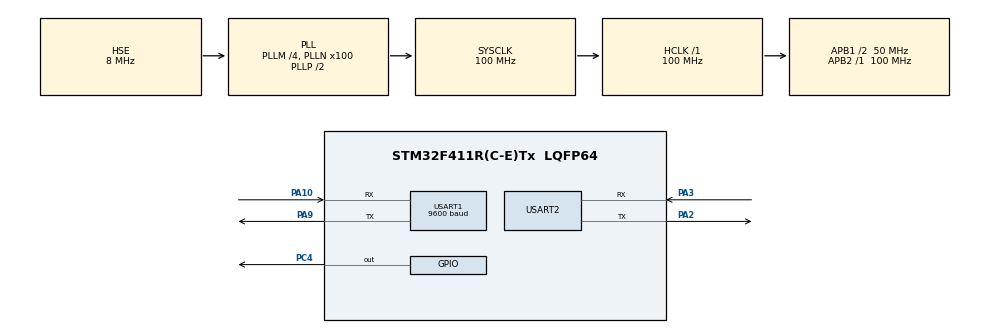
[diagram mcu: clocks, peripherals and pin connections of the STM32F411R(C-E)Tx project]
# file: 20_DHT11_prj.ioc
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Dma.Request0=USART2_RX
Dma.USART2_RX.0.Direction=DMA_PERIPH_TO_MEMORY
Dma.USART2_RX.0.FIFOMode=DMA_FIFOMODE_DISABLE
Dma.USART2_RX.0.Instance=DMA1_Stream5
Dma.USART2_RX.0.MemDataAlignment=DMA_MDATAALIGN_BYTE
Dma.USART2_RX.0.MemInc=DMA_MINC_ENABLE
Dma.USART2_RX.0.Mode=DMA_NORMAL
Dma.USART2_RX.0.PeriphDataAlignment=DMA_PDATAALIGN_BYTE
Dma.USART2_RX.0.PeriphInc=DMA_PINC_DISABLE
Dma.USART2_RX.0.Priority=DMA_PRIORITY_LOW
Mcu.Family=STM32F4
Mcu.Name=STM32F411R(C-E)Tx
Mcu.Package=LQFP64
NVIC.DMA1_Stream5_IRQn=true\:0\:0\:false\:false\:true\:false\:true\:true
NVIC.PriorityGroup=NVIC_PRIORITYGROUP_4
NVIC.TIM1_TRG_COM_TIM11_IRQn=true\:0\:0\:false\:false\:true\:true\:true\:true
NVIC.USART1_IRQn=true\:0\:0\:false\:false\:true\:true\:true\:true
PA10.Mode=Asynchronous
PA10.Signal=USART1_RX
PA13.Mode=Serial_Wire
PA13.Signal=SYS_JTMS-SWDIO
PA14.Mode=Serial_Wire
PA14.Signal=SYS_JTCK-SWCLK
PA2.Mode=Asynchronous
PA2.Signal=USART2_TX
PA3.Mode=Asynchronous
PA3.Signal=USART2_RX
PA9.Mode=Asynchronous
PA9.Signal=USART1_TX
PC4.GPIO_Speed=GPIO_SPEED_FREQ_HIGH
PC4.PinState=GPIO_PIN_RESET
PC4.Signal=GPIO_Output
PH0\ -\ OSC_IN.Mode=HSE-External-Oscillator
PH0\ -\ OSC_IN.Signal=RCC_OSC_IN
PH1\ -\ OSC_OUT.Mode=HSE-External-Oscillator
PH1\ -\ OSC_OUT.Signal=RCC_OSC_OUT
ProjectManager.HeapSize=0x200
ProjectManager.StackSize=0x400
ProjectManager.TargetToolchain=STM32CubeIDE
RCC.48MHZClocksFreq_Value=50000000
RCC.AHBFreq_Value=100000000
RCC.APB1CLKDivider=RCC_HCLK_DIV2
RCC.APB1Freq_Value=50000000
RCC.APB1TimFreq_Value=100000000
RCC.APB2Freq_Value=100000000
RCC.APB2TimFreq_Value=100000000
RCC.CortexFreq_Value=100000000
RCC.HCLKFreq_Value=100000000
RCC.HSE_VALUE=8000000
RCC.HSI_VALUE=16000000
RCC.LSE_VALUE=32768
RCC.PLLM=4
RCC.PLLN=100
RCC.PLLSourceVirtual=RCC_PLLSOURCE_HSE
RCC.SYSCLKFreq_VALUE=100000000
RCC.SYSCLKSource=RCC_SYSCLKSOURCE_PLLCLK
RCC.VCOOutputFreq_Value=200000000
TIM11.Prescaler=100-1
USART1.BaudRate=9600
USART1.VirtualMode=VM_ASYNC
USART2.VirtualMode=VM_ASYNC
VP_TIM11_VS_ClockSourceINT.Mode=Enable_Timer
board=custom

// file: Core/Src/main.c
/* USER CODE BEGIN Header */
/**
  ******************************************************************************
  * @file           : main.c
  * @brief          : Main program body
  ******************************************************************************
  * @attention
  *
  * Copyright (c) 2025 STMicroelectronics.
  * All rights reserved.
  *
  ******************************************************************************
  */
/* USER CODE END Header */
#include "main.h"
#include "dma.h"
#include "tim.h"
#include "usart.h"
#include "gpio.h"

/* USER CODE BEGIN Includes */
#include "dht.h"
/* USER CODE END Includes */

/* USER CODE BEGIN PTD */
#ifdef __GNUC__
  /* With GCC, small printf (option LD Linker->Libraries->Small printf
     set to 'Yes') calls __io_putchar() */
  #define PUTCHAR_PROTOTYPE int __io_putchar(int ch)
#else
  #define PUTCHAR_PROTOTYPE int fputc(int ch, FILE *f)
#endif /* __GNUC__ */

PUTCHAR_PROTOTYPE
{
  /* Place your implementation of fputc here */
  /* e.g. write a character to the UART and Loop until the end of transmission */
  HAL_UART_Transmit(&huart2, (uint8_t *)&ch, 1, 0xFFFF);

  return ch;
}

/* USER CODE END PTD */

/* USER CODE BEGIN PV */
DHT11 dht; // 온습도 센서를 위한 구조체
/* USER CODE END PV */

void SystemClock_Config(void);

int main(void)
{

  /* MCU Configuration--------------------------------------------------------*/

  /* Reset of all peripherals, Initializes the Flash interface and the Systick. */
  HAL_Init();

  /* Configure the system clock */
  SystemClock_Config();

  /* Initialize all configured peripherals */
  MX_GPIO_Init();
  MX_DMA_Init();
  MX_USART2_UART_Init();
  MX_TIM11_Init();
  MX_USART1_UART_Init();
  /* USER CODE BEGIN 2 */
  dht11Init(&dht, GPIOC, GPIO_PIN_4); // DHT11 센서 초기화
  printf("System Initialized\r\n");
  /* USER CODE END 2 */

  /* Infinite loop */
  /* USER CODE BEGIN WHILE */
  while (1)
  {
    // DHT11 데이터 읽기
    if (dht11Read(&dht)) // 성공적으로 읽으면 true 반환
    {
      // UART2 (디버그용)으로 출력
      printf("Temperature: %d C, Humidity: %d %%\r\n", dht.temperature, dht.humidity);

      // UART1 (블루투스용)으로 전송
      char buffer[50];
      sprintf(buffer, "Temp: %d C, Hum: %d %%\r\n", dht.temperature, dht.humidity);
      HAL_UART_Transmit(&huart1, (uint8_t *)buffer, strlen(buffer), HAL_MAX_DELAY);
    }
    else
    {
      // DHT11 데이터 읽기 실패 메시지 출력
      printf("Failed to read data from DHT11\r\n");
    }

    HAL_Delay(2000); // 2초 대기
    /* USER CODE END WHILE */

  }
}

void SystemClock_Config(void)
{
  RCC_OscInitTypeDef RCC_OscInitStruct = {0};
  RCC_ClkInitTypeDef RCC_ClkInitStruct = {0};

  /** Configure the main internal regulator output voltage
  */
  __HAL_RCC_PWR_CLK_ENABLE();
  __HAL_PWR_VOLTAGESCALING_CONFIG(PWR_REGULATOR_VOLTAGE_SCALE1);

  /** Initializes the RCC Oscillators according to the specified parameters
  * in the RCC_OscInitTypeDef structure.
  */
  RCC_OscInitStruct.OscillatorType = RCC_OSCILLATORTYPE_HSE;
  RCC_OscInitStruct.HSEState = RCC_HSE_ON;
  RCC_OscInitStruct.PLL.PLLState = RCC_PLL_ON;
  RCC_OscInitStruct.PLL.PLLSource = RCC_PLLSOURCE_HSE;
  RCC_OscInitStruct.PLL.PLLM = 4;
  RCC_OscInitStruct.PLL.PLLN = 100;
  RCC_OscInitStruct.PLL.PLLP = RCC_PLLP_DIV2;
  RCC_OscInitStruct.PLL.PLLQ = 4;
  if (HAL_RCC_OscConfig(&RCC_OscInitStruct) != HAL_OK)
  {
    Error_Handler();
  }

  /** Initializes the CPU, AHB and APB buses clocks
  */
  RCC_ClkInitStruct.ClockType = RCC_CLOCKTYPE_HCLK|RCC_CLOCKTYPE_SYSCLK
                              |RCC_CLOCKTYPE_PCLK1|RCC_CLOCKTYPE_PCLK2;
  RCC_ClkInitStruct.SYSCLKSource = RCC_SYSCLKSOURCE_PLLCLK;
  RCC_ClkInitStruct.AHBCLKDivider = RCC_SYSCLK_DIV1;
  RCC_ClkInitStruct.APB1CLKDivider = RCC_HCLK_DIV2;
  RCC_ClkInitStruct.APB2CLKDivider = RCC_HCLK_DIV1;

  if (HAL_RCC_ClockConfig(&RCC_ClkInitStruct, FLASH_LATENCY_3) != HAL_OK)
  {
    Error_Handler();
  }
}

void Error_Handler(void)
{
  __disable_irq();
  while (1)
  {
  }
}
